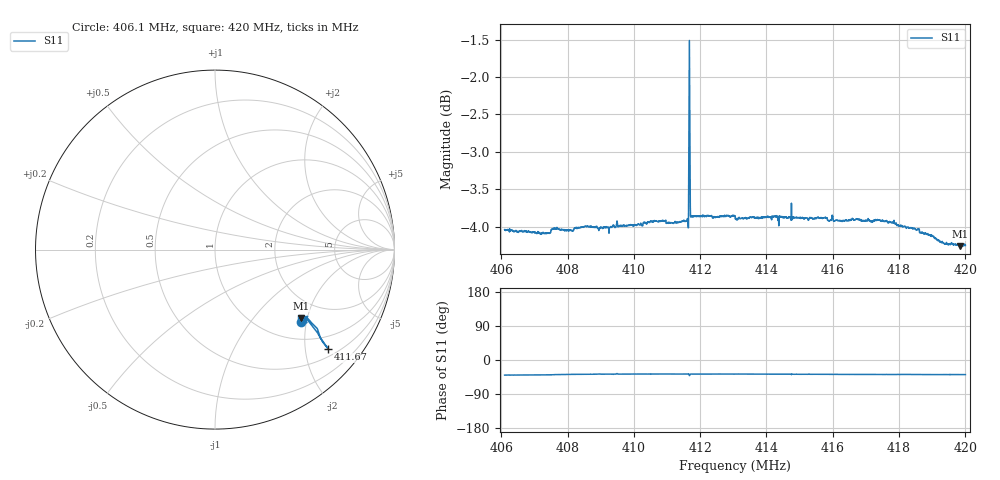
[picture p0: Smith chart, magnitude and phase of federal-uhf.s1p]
! Calibrated averaged scanner-service zoom
# Hz S RI R 50
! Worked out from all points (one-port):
!   2001 points, 406.1 MHz to 420 MHz, reference 50 ohm
!   lowest |S11| = -4.3 dB at 419.84 MHz (marker M1), VSWR 4.16, Z = 74.9 - j91.4 ohm
!   |S11| at or under -10 dB: nowhere
!   S11 on the Smith chart (normalised r, x): 406.1 MHz: 1.40, -1.87; 411.67 MHz: 0.66, -2.50; 420 MHz: 1.50, -1.83
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4.061e8  0.4817 -0.403
4.073718e8  0.4838 -0.3948
4.07636e8  0.4917 -0.3928
4.078375e8  0.4926 -0.3898
4.085464e8  0.499 -0.3865
4.089634e8  0.5007 -0.3806
4.093526e8  0.5016 -0.3831
4.095333e8  0.5028 -0.3814
4.09575e8  0.5031 -0.3827
4.105688e8  0.5085 -0.3828
4.113125e8  0.5072 -0.3824
4.115766e8  0.5084 -0.3832
4.115905e8  0.5083 -0.3834
4.116183e8  0.5098 -0.3849
4.116739e8  0.6314 -0.5546
4.117295e8  0.5111 -0.3867
4.117434e8  0.511 -0.3873
4.117573e8  0.511 -0.3872
4.117782e8  0.5108 -0.3871
4.1305e8  0.5111 -0.3879
4.147875e8  0.5067 -0.3899
4.16525e8  0.5019 -0.3923
4.176856e8  0.4986 -0.3938
4.182625e8  0.4959 -0.3894
4.190062e8  0.4865 -0.3871
4.193189e8  0.4822 -0.3821
4.198402e8  0.4788 -0.3815
4.2e8  0.4791 -0.3822
